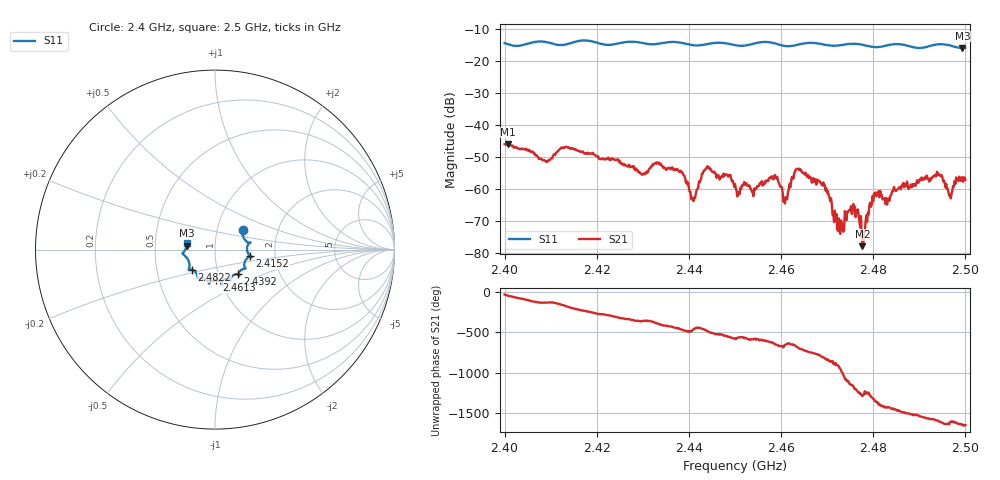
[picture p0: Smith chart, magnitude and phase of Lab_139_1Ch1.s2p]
# Hz S RI R 50
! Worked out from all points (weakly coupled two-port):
!   601 points, 2.4 GHz to 2.5 GHz, reference 50 ohm
!   highest |S21| = -46.00 dB at 2.4007 GHz (marker M1); lowest = -78.0 dB at 2.4777 GHz (marker M2)
!   lowest |S11| = -15.9 dB at 2.4993 GHz (marker M3), VSWR 1.38, Z = 36.3 + j1.64 ohm
!   |S11| at or under -10 dB: start of sweep to end of sweep
!   S12 and S22 are empty: the file has one direction only
!   S11 on the Smith chart (normalised r, x): 2.4 GHz: 1.33, +0.31; 2.4152 GHz: 1.48, -0.11; 2.4392 GHz: 1.24, -0.35; 2.4613 GHz: 0.96, -0.34; 2.4822 GHz: 0.76, -0.17; 2.5 GHz: 0.73, +0.05
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2.4e9  0.1552 0.1116  0.00446 -0.00224  0 0  0 0
2.400667e9  0.1539 0.1019  0.00382 -0.00325  0 0  0 0
2.415167e9  0.1955 -0.0365  -0.00377 0.00162  0 0  0 0
2.416667e9  0.205 -0.0426  -0.00272 0.00273  0 0  0 0
2.433333e9  0.132 -0.1319  0.00216 -0.00136  0 0  0 0
2.439167e9  0.1271 -0.1377  -0.00065 -0.00134  0 0  0 0
2.441e9  0.1091 -0.1386  -0.00013 -0.000628  0 0  0 0
2.443833e9  0.0867 -0.1623  -0.00089 -0.0019  0 0  0 0
2.45e9  0.069 -0.1637  -0.000997 0.000642  0 0  0 0
2.458667e9  0.036 -0.1856  0.00044 0.00159  0 0  0 0
2.461333e9  0.00735 -0.1707  0.000116 0.00068  0 0  0 0
2.4635e9  -0.0224 -0.1781  0.00161 0.00129  0 0  0 0
2.466667e9  -0.0335 -0.1898  0.00108 -0.000632  0 0  0 0
2.469667e9  -0.04 -0.1746  -0.000381 -0.000857  0 0  0 0
2.472333e9  -0.0694 -0.1606  -0.000214 5.25e-05  0 0  0 0
2.476167e9  -0.0943 -0.1605  -0.000203 -0.000299  0 0  0 0
2.477667e9  -0.0965 -0.1522  -0.000106 6.97e-05  0 0  0 0
2.480333e9  -0.1097 -0.1237  2.05e-05 0.000777  0 0  0 0
2.482167e9  -0.1284 -0.112  0.000617 0.00029  0 0  0 0
2.483333e9  -0.1397 -0.1104  0.000701 7.8e-05  0 0  0 0
2.499333e9  -0.1585 0.0221  -0.00136 0.000681  0 0  0 0
2.5e9  -0.1581 0.0341  -0.00113 0.000801  0 0  0 0
